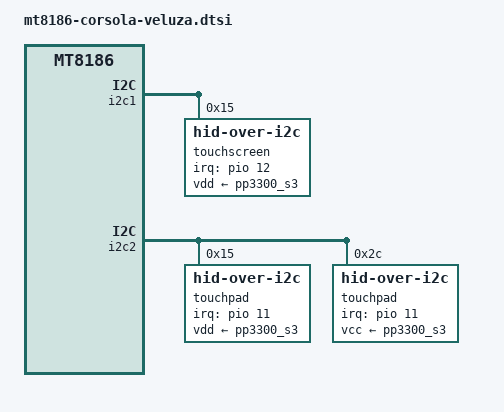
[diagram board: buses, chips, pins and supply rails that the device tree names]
// SPDX-License-Identifier: (GPL-2.0 OR MIT)
/*
 * Copyright 2024 Google LLC
 */

/dts-v1/;
#include "mt8186-corsola-krabby.dtsi"

&i2c1 {
	/delete-node/ touchscreen@10;
	touchscreen@15 {
		compatible = "hid-over-i2c";
		reg = <0x15>;
		interrupts-extended = <&pio 12 IRQ_TYPE_LEVEL_LOW>;
		pinctrl-names = "default";
		pinctrl-0 = <&touchscreen_pins>;
		post-power-on-delay-ms = <10>;
		hid-descr-addr = <0x0001>;
		vdd-supply = <&pp3300_s3>;
		status = "okay";
	};
};

&i2c2 {
	/delete-node/ touchpad@15;
	touchpad@15 {
		compatible = "hid-over-i2c";
		reg = <0x15>;
		interrupts-extended = <&pio 11 IRQ_TYPE_LEVEL_LOW>;
		pinctrl-names = "default";
		pinctrl-0 = <&trackpad_pins>;
		post-power-on-delay-ms = <10>;
		hid-descr-addr = <0x0001>;
		vdd-supply = <&pp3300_s3>;
		wakeup-source;
	};

	touchpad@2c {
		compatible = "hid-over-i2c";
		reg = <0x2c>;
		hid-descr-addr = <0x20>;
		interrupts-extended = <&pio 11 IRQ_TYPE_LEVEL_LOW>;
		vcc-supply = <&pp3300_s3>;
		wakeup-source;
	};
};

&usb_c1 {
    status = "disabled";
};
